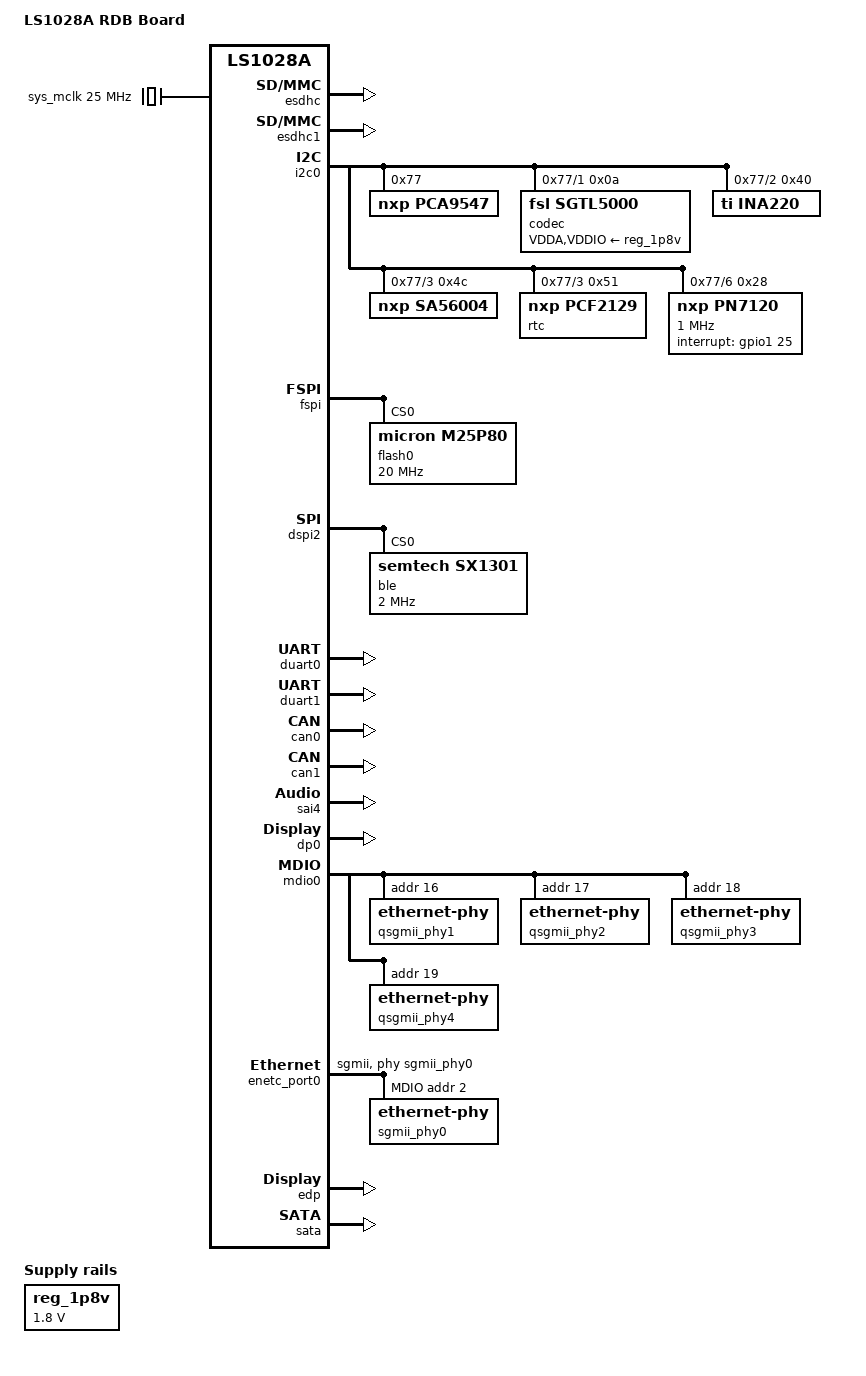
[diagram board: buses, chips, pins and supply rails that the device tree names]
/*
 * Device Tree Include file for NXP Layerscape-1028A family SoC.
 *
 * Copyright 2018-2019 NXP
 *
 * Harninder Rai <harninder.rai@nxp.com>
 *
 * This file is dual-licensed: you can use it either under the terms
 * of the GPLv2 or the X11 license, at your option. Note that this dual
 * licensing only applies to this file, and not this project as a
 * whole.
 *
 *  a) This library is free software; you can redistribute it and/or
 *     modify it under the terms of the GNU General Public License as
 *     published by the Free Software Foundation; either version 2 of the
 *     License, or (at your option) any later version.
 *
 *     This library is distributed in the hope that it will be useful,
 *     but WITHOUT ANY WARRANTY; without even the implied warranty of
 *     MERCHANTABILITY or FITNESS FOR A PARTICULAR PURPOSE.  See the
 *     GNU General Public License for more details.
 *
 * Or, alternatively,
 *
 *  b) Permission is hereby granted, free of charge, to any person
 *     obtaining a copy of this software and associated documentation
 *     files (the "Software"), to deal in the Software without
 *     restriction, including without limitation the rights to use,
 *     copy, modify, merge, publish, distribute, sublicense, and/or
 *     sell copies of the Software, and to permit persons to whom the
 *     Software is furnished to do so, subject to the following
 *     conditions:
 *
 *     The above copyright notice and this permission notice shall be
 *     included in all copies or substantial portions of the Software.
 *
 *     THE SOFTWARE IS PROVIDED "AS IS", WITHOUT WARRANTY OF ANY KIND,
 *     EXPRESS OR IMPLIED, INCLUDING BUT NOT LIMITED TO THE WARRANTIES
 *     OF MERCHANTABILITY, FITNESS FOR A PARTICULAR PURPOSE AND
 *     NONINFRINGEMENT. IN NO EVENT SHALL THE AUTHORS OR COPYRIGHT
 *     HOLDERS BE LIABLE FOR ANY CLAIM, DAMAGES OR OTHER LIABILITY,
 *     WHETHER IN AN ACTION OF CONTRACT, TORT OR OTHERWISE, ARISING
 *     FROM, OUT OF OR IN CONNECTION WITH THE SOFTWARE OR THE USE OR
 *     OTHER DEALINGS IN THE SOFTWARE.
 */

/dts-v1/;
#include "fsl-ls1028a.dtsi"

/ {
	model = "LS1028A RDB Board";
	compatible = "fsl,ls1028a-rdb", "fsl,ls1028a";

	aliases {
		gpio0 = &gpio0;
		gpio1 = &gpio1;
		gpio2 = &gpio2;

		crypto = &crypto;
		serial0 = &duart0;
		serial1 = &duart1;
	};

	chosen {
		stdout-path = "serial0:115200n8";
	};

	sys_mclk: clock-mclk {
		compatible = "fixed-clock";
		#clock-cells = <0>;
		clock-frequency = <25000000>;
	};

	reg_1p8v: regulator-1p8v {
		compatible = "regulator-fixed";
		regulator-name = "1P8V";
		regulator-min-microvolt = <1800000>;
		regulator-max-microvolt = <1800000>;
		regulator-always-on;
	};

	sound {
		compatible = "simple-audio-card";
		simple-audio-card,format = "i2s";
		simple-audio-card,widgets =
			"Microphone", "Microphone Jack",
			"Headphone", "Headphone Jack",
			"Speaker", "Speaker Ext",
			"Line", "Line In Jack";
		simple-audio-card,routing =
			"MIC_IN", "Microphone Jack",
			"Microphone Jack", "Mic Bias",
			"LINE_IN", "Line In Jack",
			"Headphone Jack", "HP_OUT",
			"Speaker Ext", "LINE_OUT";

		simple-audio-card,cpu {
			sound-dai = <&sai4>;
			frame-master;
			bitclock-master;
		};

		simple-audio-card,codec {
			sound-dai = <&codec>;
			frame-master;
			bitclock-master;
			system-clock-frequency = <25000000>;
		};
	};
};

&esdhc {
	status = "okay";
	sd-uhs-sdr104;
	sd-uhs-sdr50;
	sd-uhs-sdr25;
	sd-uhs-sdr12;
};

&esdhc1 {
	status = "okay";
	mmc-hs200-1_8v;
};

&i2c0 {
	status = "okay";
	pca9547@77 {
		compatible = "nxp,pca9547";
		reg = <0x77>;
		#address-cells = <1>;
		#size-cells = <0>;

		i2c@1 {
			#address-cells = <1>;
			#size-cells = <0>;
			reg = <0x1>;

			codec: sgtl5000@a {
				#sound-dai-cells = <0>;
				compatible = "fsl,sgtl5000";
				reg = <0xa>;
				VDDA-supply = <&reg_1p8v>;
				VDDIO-supply = <&reg_1p8v>;
				clocks = <&sys_mclk>;
				sclk-strength = <3>;
			};
		};

		i2c@2 {
			#address-cells = <1>;
			#size-cells = <0>;
			reg = <0x02>;

			ina220@40 {
				compatible = "ti,ina220";
				reg = <0x40>;
				shunt-resistor = <500>;
			};
		};

		i2c@3 {
			#address-cells = <1>;
			#size-cells = <0>;
			reg = <0x3>;

			sa56004@4c {
				compatible = "nxp,sa56004";
				reg = <0x4c>;
			};

			rtc@51 {
				compatible = "nxp,pcf2129";
				reg = <0x51>;
			};
		};

		i2c@6 {
			#address-cells = <1>;
			#size-cells = <0>;
			reg = <0x6>;

				pn7120: pn7120 {
				compatible = "nxp,pn7120", "nxp,pn544";
				reg = <0x28>;
				clock-frequency = <1000000>;
				interrupt-parent = <&gpio1>;
				interrupt-gpios = <&gpio1 25 0>; /*28*/
			};
		};
	};


};

&fspi {
	status = "okay";
	flash0: mt35xu02g@0 {
		#address-cells = <1>;
		#size-cells = <1>;
		compatible = "micron,m25p80";
		m25p,fast-read;
		spi-max-frequency = <20000000>;
		reg = <0>;
		/* The following setting enables 1-1-8 (CMD-ADDR-DATA) mode */
		spi-rx-bus-width = <8>; /* 8 SPI Rx lines */
		spi-tx-bus-width = <1>; /* 1 SPI Tx line */
	};
};

&dspi0 {
	bus-num = <0>;
	status = "disabled";

	flash@0 {
		#address-cells = <1>;
		#size-cells = <1>;
		compatible = "n25q128a13", "jedec,spi-nor";  /* 16MB */
		reg = <0>;
		spi-max-frequency = <1000000>; /* input clock */
	};

	slic@2 {
		compatible = "maxim,ds26522";
		reg = <2>;
		spi-max-frequency = <2000000>;
		fsl,spi-cs-sck-delay = <100>;
		fsl,spi-sck-cs-delay = <50>;
	};

	slic@3 {
		compatible = "maxim,ds26522";
		reg = <3>;
		spi-max-frequency = <2000000>;
		fsl,spi-cs-sck-delay = <100>;
		fsl,spi-sck-cs-delay = <50>;
	};
};

&dspi2 {
	bus-num = <2>;
	status = "okay";

	ble@0 {
		compatible = "semtech,sx1301";
		reg = <0>;
		spi-max-frequency = <2000000>;
		fsl,spi-cs-sck-delay = <1000000>;
		fsl,spi-sck-cs-delay = <50>;
	};
};

&duart0 {
	status = "okay";
};

&duart1 {
	status = "okay";
};

&can0 {
	status = "okay";
};

&can1 {
	status = "okay";
};

&sai4 {
	status = "okay";
};

&dp0 {
	status = "okay";
};

&mdio0 {
	qsgmii_phy1: ethernet-phy@4 {
		reg = <0x10>;
	};

	qsgmii_phy2: ethernet-phy@5 {
		reg = <0x11>;
	};

	qsgmii_phy3: ethernet-phy@6 {
		reg = <0x12>;
	};

	qsgmii_phy4: ethernet-phy@7 {
		reg = <0x13>;
	};
};

&enetc_port0 {
	phy-handle = <&sgmii_phy0>;
	phy-connection-type = "sgmii";

	mdio {
		#address-cells = <1>;
		#size-cells = <0>;
		sgmii_phy0: ethernet-phy@2 {
			reg = <0x2>;
			// Atheros PHY on RDB seems to cause traffic loss @ 1Gbps w EEE
			eee-broken-1000t;
		};
	};
};

&enetc_port1 {
	status = "disabled";
};

/* l2switch ports */
&switch_port0 {
	phy-handle = <&qsgmii_phy1>;
	phy-connection-type = "qsgmii";
};

&switch_port1 {
	phy-handle = <&qsgmii_phy2>;
	phy-connection-type = "qsgmii";
};

&switch_port2 {
	phy-handle = <&qsgmii_phy3>;
	phy-connection-type = "qsgmii";
};

&switch_port3 {
	phy-handle = <&qsgmii_phy4>;
	phy-connection-type = "qsgmii";
};

&edp {
	fsl,no_edid;
	resolution = "3840x2160@60",
		   "1920x1080@60",
		   "1280x720@60",
		   "720x480@60";
	lane_mapping = <0x4e>;
	edp_link_rate = <0x6>;
	edp_num_lanes = <0x4>;
	status = "okay";
};

&sata {
        status = "okay";
};
